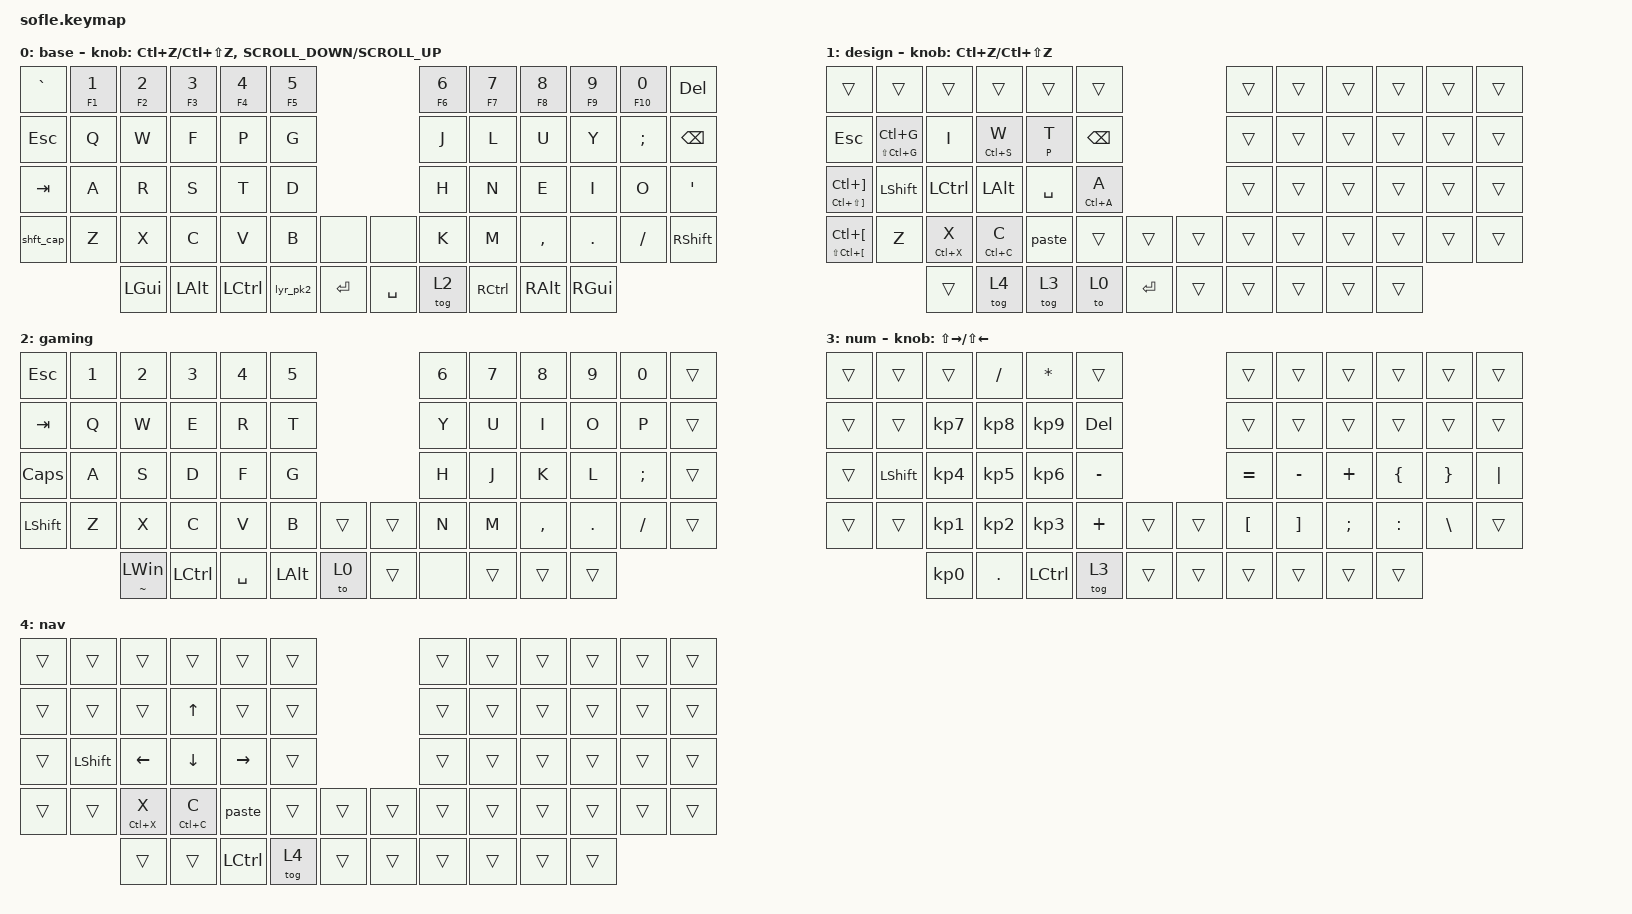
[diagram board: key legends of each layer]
/*
 * Copyright (c) 2020 The ZMK Contributors
 *
 * SPDX-License-Identifier: MIT
 */

#include <behaviors.dtsi>
#include <dt-bindings/zmk/keys.h>

#define BASE 0
#define LOWER 1
#define RAISE 2
#define ADJUST 3

&mt { hold-trigger-on-release; };

/ {
    // Activate ADJUST layer by pressing raise and lower

    conditional_layers {
        compatible = "zmk,conditional-layers";

        adjust_layer {
            if-layers = <3 3>;
            then-layer = <5>;
        };
    };

    behaviors {
        paste: paste {
            compatible = "zmk,behavior-tap-dance";
            label = "PASTE";
            #binding-cells = <0>;
            bindings = <&mt LC(V) V>, <&kp LC(LA(LS(V)))>;
        };

        lyr1or2: lyr1or2 {
            compatible = "zmk,behavior-hold-tap";
            label = "LYR1OR2";
            bindings = <&tog>, <&tog>;

            #binding-cells = <2>;
            tapping-term-ms = <400>;
        };

        shft_cap: shft_cap {
            compatible = "zmk,behavior-tap-dance";
            label = "SHFT_CAP";
            #binding-cells = <0>;
            bindings = <&kp LEFT_SHIFT>, <&kp CAPS>;
        };

        tognotap: tognotap {
            compatible = "zmk,behavior-hold-tap";
            label = "TOGNOTAP";
            bindings = <&tog>, <&none>;

            #binding-cells = <2>;
            tapping-term-ms = <200>;
        };

        lyr_pk: lyr_pk {
            compatible = "zmk,behavior-tap-dance";
            label = "LYR_PK";
            #binding-cells = <0>;
            bindings = <&tognotap 1 0>, <&tognotap 2 0>;
        };

        lyr_pk2: lyr_pk2 {
            compatible = "zmk,behavior-mod-morph";
            label = "LYR_PK2";
            bindings = <&tog 1>, <&tog 2>;

            #binding-cells = <0>;
            mods = <(MOD_LSFT)>;
        };
    };

    keymap {
        compatible = "zmk,keymap";

        base {
            display-name = "base";

            // ------------------------------------------------------------------------------------------------------------
            // |   `   |  1  |  2  |  3   |  4   |  5   |                   |  6   |  7    |  8    |  9   |   0   |       |
            // |  ESC  |  Q  |  W  |  E   |  R   |  T   |                   |  Y   |  U    |  I    |  O   |   P   | BKSPC |
            // |  TAB  |  A  |  S  |  D   |  F   |  G   |                   |  H   |  J    |  K    |  L   |   ;   |   '   |
            // | SHIFT |  Z  |  X  |  C   |  V   |  B   |  MUTE  |  |       |  N   |  M    |  ,    |  .   |   /   | SHIFT |
            //               | GUI | ALT  | CTRL | LOWER|  ENTER |  | SPACE | RAISE| CTRL  | ALT   | GUI  |

            bindings = <
&kp GRAVE  &mt F1 NUMBER_1  &mt F2 NUMBER_2  &mt F3 NUMBER_3  &mt F4 NUMBER_4  &mt F5 N5                        &mt F6 NUMBER_6  &mt F7 N7  &mt F8 N8  &mt F9 N9  &mt F10 N0     &kp DELETE
&kp ESC    &kp Q            &kp W            &kp F            &kp P            &kp G                            &kp J            &kp L      &kp U      &kp Y      &kp SEMICOLON  &kp BSPC
&kp TAB    &kp A            &kp R            &kp S            &kp T            &kp D                            &kp H            &kp N      &kp E      &kp I      &kp O          &kp SQT
&shft_cap  &kp Z            &kp X            &kp C            &kp V            &kp B      &none      &none      &kp K            &kp M      &kp COMMA  &kp DOT    &kp FSLH       &kp RSHFT
                            &kp LGUI         &kp LALT         &kp LCTRL        &lyr_pk2   &kp RET    &kp SPACE  &tog 2           &kp RCTRL  &kp RALT   &kp RGUI
            >;

            sensor-bindings =
                <&inc_dec_kp LC(Z) LC(LS(Z))>,
                <&inc_dec_kp K_SCROLL_DOWN K_SCROLL_UP>;
        };

        design {
            bindings = <
&trans                                       &trans               &trans            &trans        &trans     &trans                              &trans  &trans  &trans  &trans  &trans  &trans
&kp ESCAPE                                   &mt LS(LC(G)) LC(G)  &kp I             &mt LC(S) W   &mt P T    &kp BACKSPACE                       &trans  &trans  &trans  &trans  &trans  &trans
&mt LC(LS(RIGHT_BRACKET)) LC(RIGHT_BRACKET)  &kp LEFT_SHIFT       &kp LEFT_CONTROL  &kp LEFT_ALT  &kp SPACE  &mt LC(A) A                         &trans  &trans  &trans  &trans  &trans  &trans
&mt LS(LC(LEFT_BRACKET)) LC(LEFT_BRACKET)    &kp Z                &mt LC(X) X       &mt LC(C) C   &paste     &trans         &trans       &trans  &trans  &trans  &trans  &trans  &trans  &trans
                                                                  &trans            &tog 4        &tog 3     &to 0          &kp ENTER    &trans  &trans  &trans  &trans  &trans
            >;

            sensor-bindings = <&inc_dec_kp LC(Z) LC(LS(Z))>;
            label = "design";
        };

        gaming {
            bindings = <
&kp ESCAPE  &kp NUMBER_1  &kp NUMBER_2        &kp NUMBER_3  &kp NUMBER_4  &kp N5                          &kp NUMBER_6  &kp N7  &kp N8     &kp N9   &kp N0    &trans
&kp TAB     &kp Q         &kp W               &kp E         &kp R         &kp T                           &kp Y         &kp U   &kp I      &kp O    &kp P     &trans
&kp CAPS    &kp A         &kp S               &kp D         &kp F         &kp G                           &kp H         &kp J   &kp K      &kp L    &kp SEMI  &trans
&kp LSHFT   &kp Z         &kp X               &kp C         &kp V         &kp B         &trans    &trans  &kp N         &kp M   &kp COMMA  &kp DOT  &kp FSLH  &trans
                          &mt TILDE LEFT_WIN  &kp LCTRL     &kp SPACE     &kp LEFT_ALT  &to 0     &trans  &none         &trans  &trans     &trans
            >;

            label = "gaming";
        };

        numpad {
            display-name = "num";

            // TODO: Some binds are waiting for shifted keycode support.
            // ------------------------------------------------------------------------------------------------------------
            // |       |  F1 |  F2 |  F3  |  F4  |  F5  |                   |  F6  |  F7   |  F8   |  F9  |  F10  |  F11  |
            // |   `   |  1  |  2  |  3   |  4   |  5   |                   |  6   |  7    |  8    |  9   |   0   |  F12  |
            // |       |  !  |  @  |  #   |  $   |  %   |                   |  ^   |  &    |  *    |  (   |   )   |   |   |
            // |       |  =  |  -  |  +   |  {   |  }   |        |  |       |  [   |  ]    |  ;    |  :   |   \   |       |
            //               |     |      |      |      |        |  |       |      |       |       |      |

            bindings = <
&trans  &trans          &trans           &kp SLASH        &kp ASTRK        &trans                        &trans     &trans     &trans    &trans          &trans           &trans
&trans  &trans          &kp KP_NUMBER_7  &kp KP_NUMBER_8  &kp KP_NUMBER_9  &kp DELETE                    &trans     &trans     &trans    &trans          &trans           &trans
&trans  &kp LEFT_SHIFT  &kp KP_NUMBER_4  &kp KP_NUMBER_5  &kp KP_NUMBER_6  &kp MINUS                     &kp EQUAL  &kp MINUS  &kp PLUS  &kp LEFT_BRACE  &kp RIGHT_BRACE  &kp PIPE
&trans  &trans          &kp KP_NUMBER_1  &kp KP_NUMBER_2  &kp KP_NUMBER_3  &kp PLUS    &trans    &trans  &kp LBKT   &kp RBKT   &kp SEMI  &kp COLON       &kp BSLH         &trans
                        &kp KP_NUMBER_0  &kp DOT          &kp LCTRL        &tog 3      &trans    &trans  &trans     &trans     &trans    &trans
            >;

            sensor-bindings = <&inc_dec_kp LS(RIGHT_ARROW) LS(LEFT_ARROW)>;
        };

        navigation {
            bindings = <
&trans  &trans          &trans       &trans          &trans     &trans                    &trans  &trans  &trans  &trans  &trans  &trans
&trans  &trans          &trans       &kp UP_ARROW    &trans     &trans                    &trans  &trans  &trans  &trans  &trans  &trans
&trans  &kp LEFT_SHIFT  &kp LEFT     &kp DOWN_ARROW  &kp RIGHT  &trans                    &trans  &trans  &trans  &trans  &trans  &trans
&trans  &trans          &mt LC(X) X  &mt LC(C) C     &paste     &trans  &trans    &trans  &trans  &trans  &trans  &trans  &trans  &trans
                        &trans       &trans          &kp LCTRL  &tog 4  &trans    &trans  &trans  &trans  &trans  &trans
            >;

            label = "nav";
        };
    };
};
